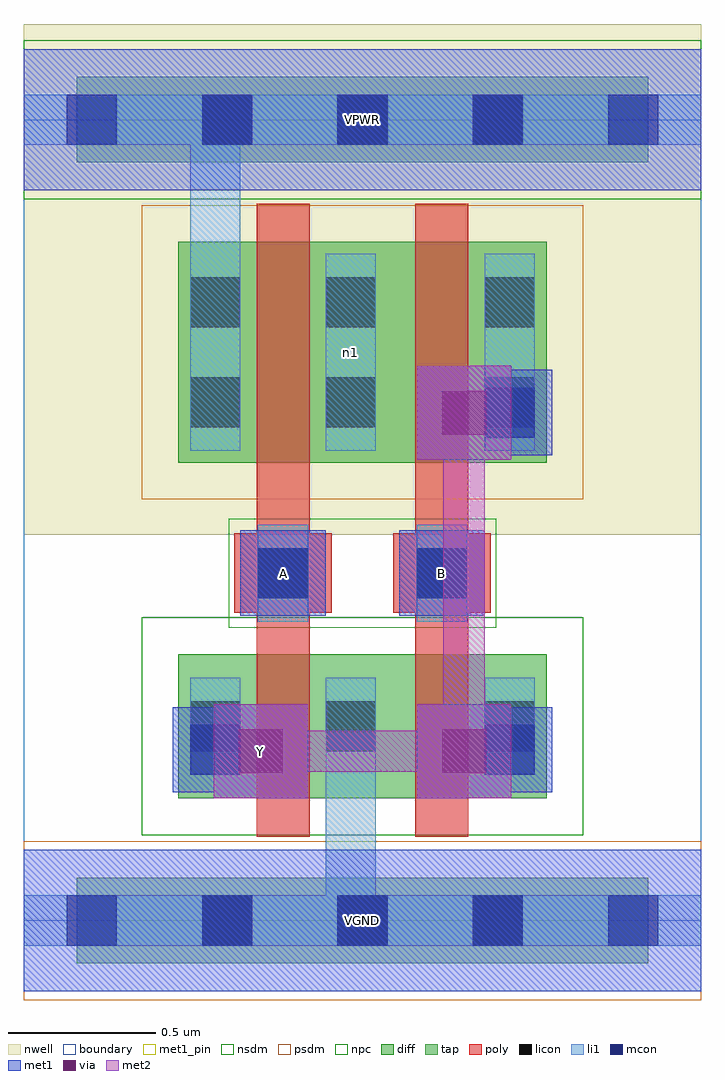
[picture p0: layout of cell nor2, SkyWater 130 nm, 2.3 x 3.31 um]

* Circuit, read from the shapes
.subckt nor2 A B VGND VPWR Y n1
XM1 VGND A Y VGND sky130_fd_pr__nfet_01v8 w=0.49 l=0.18
XM2 Y B VGND VGND sky130_fd_pr__nfet_01v8 w=0.49 l=0.18
XM3 n1 A VPWR VPWR sky130_fd_pr__pfet_01v8 w=0.75 l=0.18
XM4 Y B n1 VPWR sky130_fd_pr__pfet_01v8 w=0.75 l=0.18
.ends

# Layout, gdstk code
import gdstk
lib = gdstk.Library(unit=1e-6, precision=1e-09)
def R(c, l, rs):  # rectangles x0, y0, x1, y1
    for r in rs: c.add(gdstk.rectangle(r[:2], r[2:], *l))
def A(c, l, x, y, w, h, nx, ny, dx, dy):  # array of equal rectangles
    R(c, l, [(x+i*dx, y+j*dy, x+i*dx+w, y+j*dy+h) for i in range(nx) for j in range(ny)])
nwell = (64, 20)
diff = (65, 20)
tap = (65, 44)
poly = (66, 20)
licon = (66, 44)
li1 = (67, 20)
mcon = (67, 44)
met1_pin = (68, 16)
met1 = (68, 20)
via = (68, 44)
met2 = (69, 20)
nsdm = (93, 44)
psdm = (94, 20)
npc = (95, 20)
boundary = (235, 4)

nor2 = lib.new_cell('nor2')
R(nor2, nwell, [(0,1.31,2.3,3.045)])
R(nor2, diff, [(0.525,0.415,1.775,0.905), (0.525,1.555,1.775,2.305)])
R(nor2, tap, [(0.18,-0.145,2.12,0.145), (0.18,2.575,2.12,2.865)])
R(nor2, poly, [(0.79,0.285,0.97,2.435), (1.33,0.285,1.51,2.435), (0.715,1.045,1.045,1.315), (1.255,1.045,1.585,1.315)])
A(nor2, licon, 0.605, -0.085, 0.17, 0.17, 3, 2, 0.46, 2.72)
R(nor2, licon, [(0.565,0.575,0.735,0.745), (1.025,0.575,1.195,0.745), (1.565,0.575,1.735,0.745), (0.795,1.095,0.965,1.265), (1.335,1.095,1.505,1.265), (0.565,1.675,0.735,1.845), (1.025,1.675,1.195,1.845), (1.565,1.675,1.735,1.845), (0.565,2.015,0.735,2.185), (1.025,2.015,1.195,2.185), (1.565,2.015,1.735,2.185)])
R(nor2, li1, [(0,-0.085,2.3,0.085), (1.025,-0.085,1.195,0.825), (0.565,0.495,0.735,0.825), (1.025,0.495,1.195,0.825), (1.565,0.495,1.735,0.825), (0.795,1.015,0.965,1.345), (1.335,1.015,1.505,1.345), (0.565,1.595,0.735,2.265), (0.565,1.595,0.735,2.805), (1.025,1.595,1.195,2.265), (1.565,1.595,1.735,2.265), (0,2.635,2.3,2.805)])
A(nor2, mcon, 0.145, -0.085, 0.17, 0.17, 5, 2, 0.46, 2.72)
R(nor2, mcon, [(0.565,0.495,0.735,0.665), (1.565,0.495,1.735,0.665), (0.795,1.095,0.965,1.265), (1.335,1.095,1.505,1.265), (1.565,1.64,1.735,1.81)])
R(nor2, met1_pin, [(0,-0.24,2.3,0.24), (0.645,0.415,0.965,0.735), (0.735,1.035,1.025,1.325), (1.275,1.035,1.565,1.325), (0,2.48,2.3,2.96)])
R(nor2, met1, [(0,-0.24,2.3,0.24), (0.645,0.415,0.965,0.735), (1.335,0.415,1.655,0.735), (0.505,0.435,0.795,0.725), (1.505,0.435,1.795,0.725), (0.735,0.505,0.875,0.65), (1.425,0.505,1.565,0.65), (0.58,0.51,0.875,0.65), (1.425,0.51,1.72,0.65), (0.735,1.035,1.025,1.325), (1.275,1.035,1.565,1.325), (1.335,1.565,1.655,1.885), (1.505,1.58,1.795,1.87), (1.425,1.655,1.72,1.795), (0,2.48,2.3,2.96)])
R(nor2, via, [(0.73,0.5,0.88,0.65), (1.42,0.5,1.57,0.65), (1.42,1.65,1.57,1.8)])
R(nor2, met2, [(0.645,0.415,0.965,0.735), (1.335,0.415,1.655,0.735), (0.735,0.505,1.565,0.645), (1.425,0.505,1.565,1.795), (1.335,1.565,1.655,1.885)])
R(nor2, nsdm, [(0.4,0.29,1.9,1.03), (0,2.45,2.3,2.99)])
R(nor2, psdm, [(0,-0.27,2.3,0.27), (0.4,1.43,1.9,2.43)])
R(nor2, npc, [(0.695,0.995,1.605,1.365)])
R(nor2, boundary, [(0,0,2.3,2.72)])
nor2.add(gdstk.Label('n1', (1.11,1.93), layer=67, texttype=5))
nor2.add(gdstk.Label('A', (0.88,1.18), layer=68, texttype=5))
nor2.add(gdstk.Label('B', (1.42,1.18), layer=68, texttype=5))
nor2.add(gdstk.Label('Y', (0.805,0.575), layer=68, texttype=5))
nor2.add(gdstk.Label('VPWR', (1.15,2.72), layer=68, texttype=5))
nor2.add(gdstk.Label('VGND', (1.15,0), layer=68, texttype=5))
nor2.add(gdstk.Label('A', (0.88,1.18), layer=68, texttype=16))
nor2.add(gdstk.Label('B', (1.42,1.18), layer=68, texttype=16))
nor2.add(gdstk.Label('Y', (0.805,0.575), layer=68, texttype=16))
nor2.add(gdstk.Label('VPWR', (1.15,2.72), layer=68, texttype=16))
nor2.add(gdstk.Label('VGND', (1.15,0), layer=68, texttype=16))

lib.write_gds('nor2.gds')
